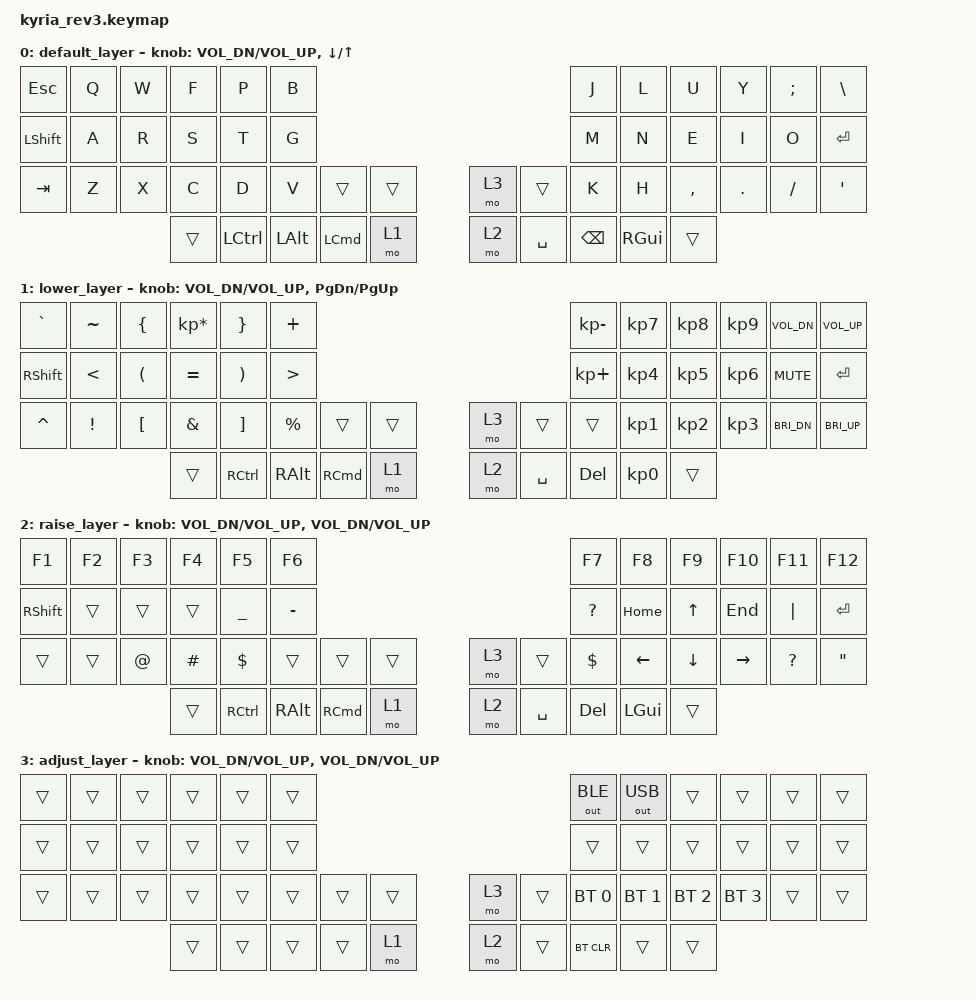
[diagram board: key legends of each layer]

/*
 * Copyright (c) 2020 The ZMK Contributors
 *
 * SPDX-License-Identifier: MIT
 */

#include <behaviors.dtsi>
#include <dt-bindings/zmk/keys.h>
#include <dt-bindings/zmk/bt.h>
#include <dt-bindings/zmk/outputs.h>

/ {
	keymap {
		compatible = "zmk,keymap";

		default_layer {
                        // ---------------------------------------------------------------------------------------------------------------------------------------------------
                        // |  ESC  |  Q  |  W  |  F   |  P   |  B   |                                                            |  J   |  L    |  U    |  Y   |   ;   |   \  |
                        // | SHIFT |  A  |  R  |  S   |  T   |  G   |                                                            |  M   |  N    |  E    |  I   |   O   |   RET  |
                        // | TAB   |  Z  |  X  |  C   |  D   |  V   |       |       |                            | CONFIG |       |  K   |  H    |  ,    |  .   |   /   |  ' |
                        //                     |  rot | CTRL  | OPT | CMD   | LOWER |                            | RAISE | SPACE | BSPC | OPT   |  rot   |
			bindings = <
                        &kp ESC     &kp Q &kp W &kp F    &kp P    &kp B                                                            &kp J     &kp L    &kp U     &kp Y   &kp SEMI  &kp BSLH
                        &kp LSHIFT  &kp A &kp R &kp S    &kp T    &kp G                                                            &kp M     &kp N    &kp E     &kp I   &kp O     &kp RET
                        &kp TAB     &kp Z &kp X &kp C    &kp D    &kp V     &trans    &trans                &mo 3      &trans    &kp K     &kp H    &kp COMMA &kp DOT &kp FSLH  &kp SQT
                                              &trans   &kp LCTRL &kp LALT &kp LCMD  &mo 1                   &mo 2      &kp SPACE &kp BSPC  &kp RGUI &trans
                        >;

			sensor-bindings = <&inc_dec_kp C_VOL_DN C_VOL_UP &inc_dec_kp DOWN UP>;
		};
		lower_layer {
                        // ---------------------------------------------------------------------------------------------------------------------------------------------------
                        // |    `  |  ~  |  {  |  *   |  }   |  +   |                                                            |  -   |   7   |   8   |   9  |   vol_dn        |vol _up |
                        // | SHIFT |  <  |  (  |  =   |  )   |  >   |                                                            |  +   |   4   |   5   |   6  |     mute      | RET
                        // |  ^    |  !  |  [  |  &   |  ]   |  %   |       |       |                            | CONFIG |       |      |   1   |   2   |   3  | bright_dn |  bright_up   |
                        //                     |  rot | OPT  | CTRL | CMD   | LOWER |                            | RAISE | SPACE | BSPC |   0   |  rot  |
			bindings = <
                        &kp GRAVE  &kp TILDE &kp LBRC &kp KP_ASTERISK &kp RBRC  &kp PLUS                                              &kp KP_MINUS &kp KP_N7 &kp KP_N8 &kp KP_N9 &kp C_VOL_DN     &kp C_VOL_UP
                        &kp RSHIFT &kp LT    &kp LPAR &kp EQUAL       &kp RPAR  &kp GT                                               &kp KP_PLUS  &kp KP_N4 &kp KP_N5 &kp KP_N6 &kp C_MUTE      &kp RET
                        &kp CARET  &kp EXCL  &kp LBKT &kp AMPS        &kp RBKT  &kp PRCNT  &trans    &trans     &mo 3    &trans     &trans       &kp KP_N1 &kp KP_N2 &kp KP_N3 &kp C_BRI_DN  &kp C_BRI_UP
                                               &trans   &kp RCTRL     &kp RALT &kp RCMD  &mo 1                &mo 2     &kp SPACE  &kp DEL      &kp KP_N0 &trans
                        >;

			sensor-bindings = <&inc_dec_kp C_VOL_DN C_VOL_UP &inc_dec_kp PG_DN PG_UP>;
		};
		raise_layer {
                        // ---------------------------------------------------------------------------------------------------------------------------------------------------
                        // |   F1  |  F2 |  F3 |  F4  |  F5  |  F6  |                                                            |  F7  |   F8  |   F9  |  F10  |  F11 |  F12 |
                        // |       |     |     |      |   _  |  -   |                                                            |   £  |  HOME |   ⬆  |  END  |  pipe |  RET  |
                        // | SHIFT |     |  @  |  #   |  $   |      |       |       |                            | CONFIG|       |   eur  |   ⬅  |   ⬇   |   ⮕  |   ?   |  "   |
                        //                     |  rot | OPT  | CTRL | CMD   | LOWER |                            | RAISE | SPACE | BSPC | OPT   |  rot   |
			bindings = <
                        &kp F1     &kp F2    &kp F3      &kp F4    &kp F5    &kp F6                                               &kp F7    &kp F8    &kp F9    &kp F10   &kp F11   &kp F12
                        &kp RSHIFT &trans    &trans      &trans    &kp UNDER &kp MINUS                                            &kp QMARK &kp HOME  &kp UP    &kp END   &kp PIPE  &kp RET
                        &trans     &trans    &kp AT_SIGN &kp HASH  &kp DLLR  &trans   &trans   &trans        &mo 3     &trans     &kp DLLR  &kp LEFT  &kp DOWN  &kp RIGHT &kp QMARK &kp DQT
                                                         &trans    &kp RCTL  &kp RALT &kp RCMD &mo 1         &mo 2     &kp SPACE  &kp DEL  &kp LGUI &trans
                        >;

			sensor-bindings = <&inc_dec_kp C_VOL_DN C_VOL_UP &inc_dec_kp C_VOL_DN C_VOL_UP>;
		};
		adjust_layer {
                        // ---------------------------------------------------------------------------------------------------------------------------------------------------
                        // |       |     |     |      |      |      |                                                            |      |       |       |      |     |     |
                        // |       |     |     |      |      |      |                                                            |      |       |      |       |      |      |
                        // |       |     |     |     |     |      |       |       |                            | CONFIG|       |   bt0   |  bt1    |   bt2    |   bt3   |      |     |
                        //                     |      |      |      |       | LOWER |                            |  RAISE |      |   bt clr   |      |       |
			bindings = <
                        &trans  &trans  &trans  &trans  &trans  &trans                                                &out OUT_BLE       &out OUT_USB       &trans       &trans        &trans  &trans   
                        &trans  &trans  &trans  &trans  &trans  &trans                                                &trans       &trans       &trans       &trans        &trans  &trans
                        &trans  &trans  &trans  &trans  &trans   &trans  &trans &trans                &mo 3   &trans  &bt BT_SEL 0 &bt BT_SEL 1 &bt BT_SEL 2 &bt BT_SEL 3  &trans  &trans
                                                &trans  &trans  &trans  &trans  &mo 1                 &mo 2   &trans  &bt BT_CLR  &trans  &trans
		        >;

			sensor-bindings = <&inc_dec_kp C_VOL_DN C_VOL_UP &inc_dec_kp C_VOL_DN C_VOL_UP>;
		};
	};
};

